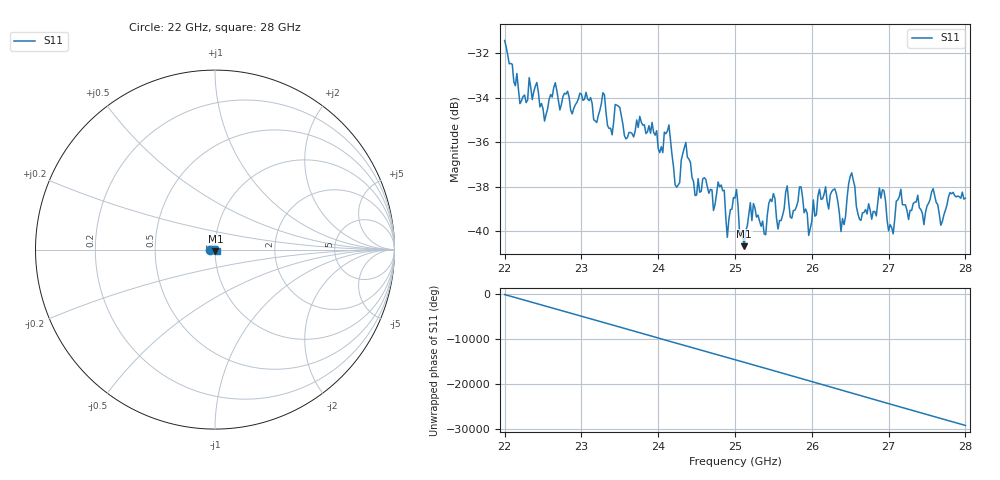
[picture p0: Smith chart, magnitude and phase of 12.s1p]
#  HZ  S  RI  R  50.00
! Rohde & Schwarz ZVA40 4Ports - Version 3.90 - 1145.1110k42 SN: 100403
! Date: 2023-10-04 10:23:28
! Measurement: S12
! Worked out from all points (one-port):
!   301 points, 22 GHz to 28 GHz, reference 50 ohm
!   lowest |S11| = -40.7 dB at 25.12 GHz (marker M1), VSWR 1.02, Z = 50.3 - j0.892 ohm
!   |S11| at or under -10 dB: start of sweep to end of sweep
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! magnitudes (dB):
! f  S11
! 22 GHz  -31.4
! 22.2 GHz  -34.3
! 22.76 GHz  -34.0
! 23.5 GHz  -34.4
! 24.02 GHz  -36.5
! 24.14 GHz  -35.2
! 24.26 GHz  -37.9
! 24.36 GHz  -36.0
! 24.48 GHz  -38.4
! 24.86 GHz  -38.2
! 24.9 GHz  -40.3
! 25 GHz  -38.5
! 25.12 GHz  -40.7
! 25.2 GHz  -38.7
! 25.4 GHz  -40.1
! 25.5 GHz  -38.3
! 25.76 GHz  -39.1
! 25.86 GHz  -38.0
! 25.96 GHz  -40.2
! 26.3 GHz  -38.1
! 26.38 GHz  -40.0
! 26.5 GHz  -37.5
! 26.64 GHz  -39.5
! 26.88 GHz  -38.1
! 27 GHz  -40.0
! 27.16 GHz  -38.1
! 27.26 GHz  -39.5
! 28 GHz  -38.5
